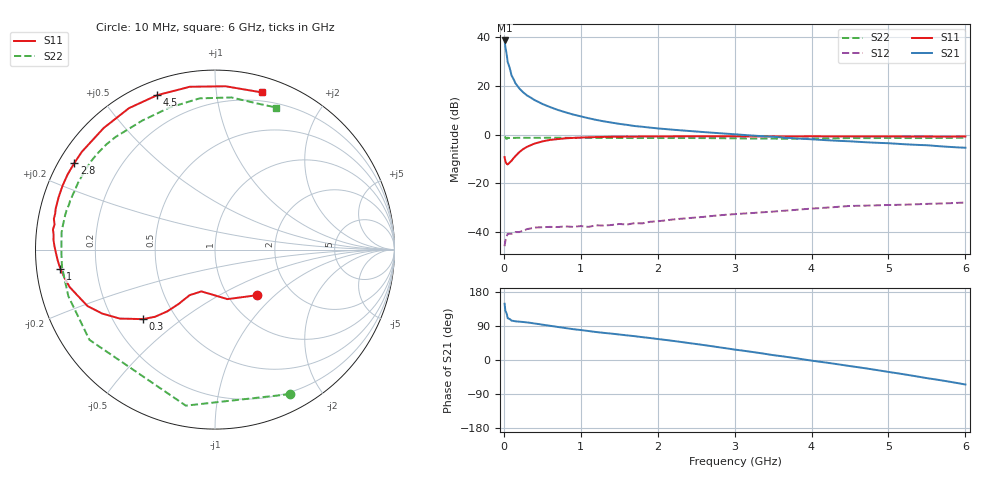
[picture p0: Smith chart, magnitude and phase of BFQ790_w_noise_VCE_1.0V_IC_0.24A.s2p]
! Infineon Technologies  Discrete & RF Semiconductors
! BFQ790
! VCE =  1.0 V,  IC = 0.24 A
! Common Emitter S-Parameters:  May 2015
# GHz  S  MA  R  50
!  f  S11  S21  S12  S22
! GHz  MAG  ANG  MAG  ANG  MAG  ANG  MAG  ANG
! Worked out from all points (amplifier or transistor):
!   77 points, 10 MHz to 6 GHz, reference 50 ohm
!   highest |S21| = 38.5 dB at 10 MHz (marker M1)
!   |S21| within 3 dB of that: start of sweep to 21.87 MHz
!   unconditionally stable (mu >= 1): 181.9 MHz to end of sweep
!   at 130 MHz: K = 0.80, MSG = 31.3 dB, |S12| = -40.2 dB
!   at 2.2 GHz: K = 1.32, MAG = 15.0 dB, |S12| = -34.8 dB
!   at 6 GHz: K = 1.16, MAG = 8.8 dB, |S12| = -27.8 dB
!   lowest NFmin = 3.64 dB at 1.5 GHz
!   S11 on the Smith chart (normalised r, x): 10 MHz: 1.35, -0.78; 300 MHz: 0.32, -0.37; 1 GHz: 0.07, -0.06; 2.8 GHz: 0.04, +0.28; 4.5 GHz: 0.06, +0.69; 6 GHz: 0.13, +1.33
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0.01  0.3453 -47.4  84.13 148.4  0.0052 55.9  0.9076 -62.5
0.02  0.2845 -75.9  61.77 129.5  0.0068 39.7  0.8845 -100.6
0.05  0.2449 -108.1  30.39 110.3  0.0093 20.4  0.8615 -144.3
0.1  0.2911 -119.2  16.16 103.8  0.0093 15.6  0.8573 -162.4
0.15  0.3615 -123.6  11.25 102.1  0.0101 16.3  0.8543 -169.8
0.2  0.4352 -127.7  8.809 101.2  0.0101 18.8  0.858 -173.6
0.25  0.5023 -131.8  7.341 100.3  0.0107 17.7  0.856 -176.3
0.3  0.559 -136.1  6.323 99.2  0.0116 14.6  0.8559 -178.3
0.4  0.6541 -144.0  5.065 96.3  0.0125 14.5  0.856 178.4
0.5  0.723 -150.5  4.231 93.3  0.0127 8.7  0.8571 176.0
0.6  0.7766 -156.1  3.653 90.3  0.0129 12.4  0.86 173.8
0.8  0.8366 -165.6  2.858 84.3  0.0132 12.6  0.8572 170.1
1  0.8679 -172.8  2.355 79.1  0.0134 11.7  0.8565 166.9
1.1  0.8787 -176.1  2.158 76.5  0.0129 13.0  0.8555 165.3
1.5  0.903 174.8  1.655 67.3  0.0148 17.3  0.8497 159.7
2.1  0.9171 163.5  1.294 53.0  0.0175 17.0  0.8474 150.6
2.8  0.9204 148.4  1.066 33.5  0.0223 9.6  0.8426 136.0
3.1  0.9173 141.5  0.986 24.9  0.0241 6.1  0.8319 129.1
4.1  0.9191 119.2  0.782 -4.4  0.0312 -9.8  0.8312 105.4
4.5  0.9187 110.6  0.727 -16.1  0.0346 -17.4  0.8469 95.8
5.1  0.9133 96.3  0.649 -34.5  0.0364 -30.9  0.8495 81.8
6  0.9137 73.5  0.537 -64.7  0.0406 -52.1  0.8618 66.7
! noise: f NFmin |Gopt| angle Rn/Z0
0.45  6.01  0.5  143  0.58
0.9  4.24  0.62  168  0.19
1.5  3.64  0.73  -172  0.1
1.8  3.67  0.73  -166  0.12
2.6  3.87  0.76  -151  0.31
3.5  4.37  0.85  -134  0.65
